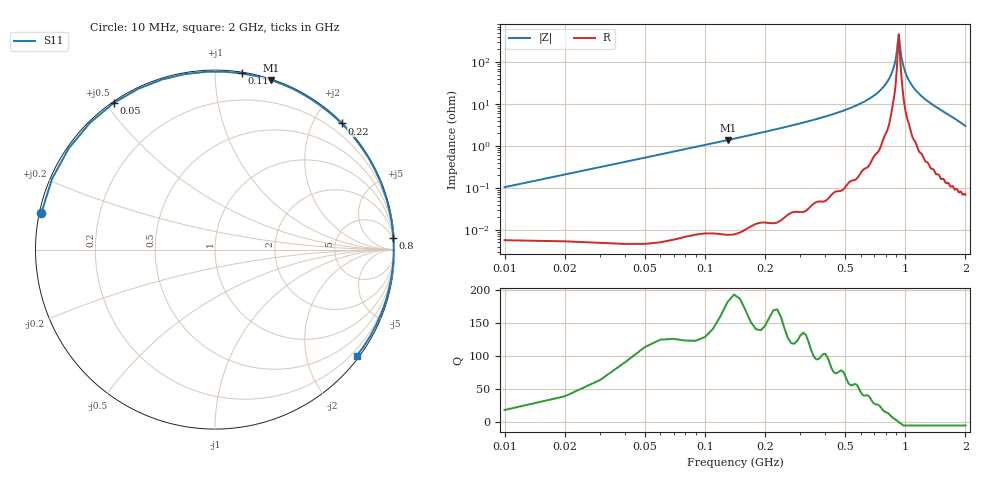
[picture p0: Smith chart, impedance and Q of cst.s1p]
! H_s8_cap_10: PDN loop: BGA pin field to a 0402 capacitor 10 mm away
! stackup: 8-layer 1.6 mm FR-4 (generic)
! ports: 1 IC pins
! CST Studio Suite 2025.5 Release from 2025-05-30, time domain (FIT, hexahedral, PBA), 139664 mesh cells, 135 s
! mesh: {'lpw': 20, 'lpb': 20, 'minstep': 0.0, 'ratio': 20}; ports: port 1 (edge)
! interpolated from CST's 1001 samples to the case grid
# Hz S RI R 1
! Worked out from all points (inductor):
!   200 points, 10 MHz to 2 GHz, reference 1 ohm
!   read as one part to ground: L = 1.66 nH near 20 MHz
!   highest Q = 182 at 130 MHz (marker M1), where L = 1.69 nH
!   self-resonance near 920 MHz
!   S11 on the Smith chart (normalised r, x): 10 MHz: 0.01, +0.10; 50 MHz: 0.00, +0.52; 110 MHz: 0.01, +1.16; 220 MHz: 0.01, +2.42; 800 MHz: 2, +30; 2 GHz: 0.07, -3.00
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1e7  -0.9677 0.2035
2e7  -0.9075 0.3952
3e7  -0.8143 0.565
4e7  -0.6968 0.7063
5e7  -0.5652 0.8162
6e7  -0.4287 0.8955
7e7  -0.2948 0.9476
8e7  -0.1684 0.9776
9e7  -0.052 0.9906
1.1e8  0.149 0.9818
1.3e8  0.3111 0.9449
1.5e8  0.4393 0.893
1.7e8  0.5385 0.836
1.9e8  0.6161 0.7805
2.2e8  0.7056 0.7027
2.6e8  0.7873 0.6087
3.1e8  0.8539 0.513
3.6e8  0.8961 0.4334
4.3e8  0.9344 0.3441
5.1e8  0.9604 0.2636
7.6e8  0.992 0.0883
8e8  0.9934 0.0666
1.01e9  0.9948 -0.0383
1.26e9  0.9832 -0.1522
1.51e9  0.9558 -0.2718
1.76e9  0.9009 -0.414
1.92e9  0.8365 -0.5268
2e9  0.7887 -0.5923
